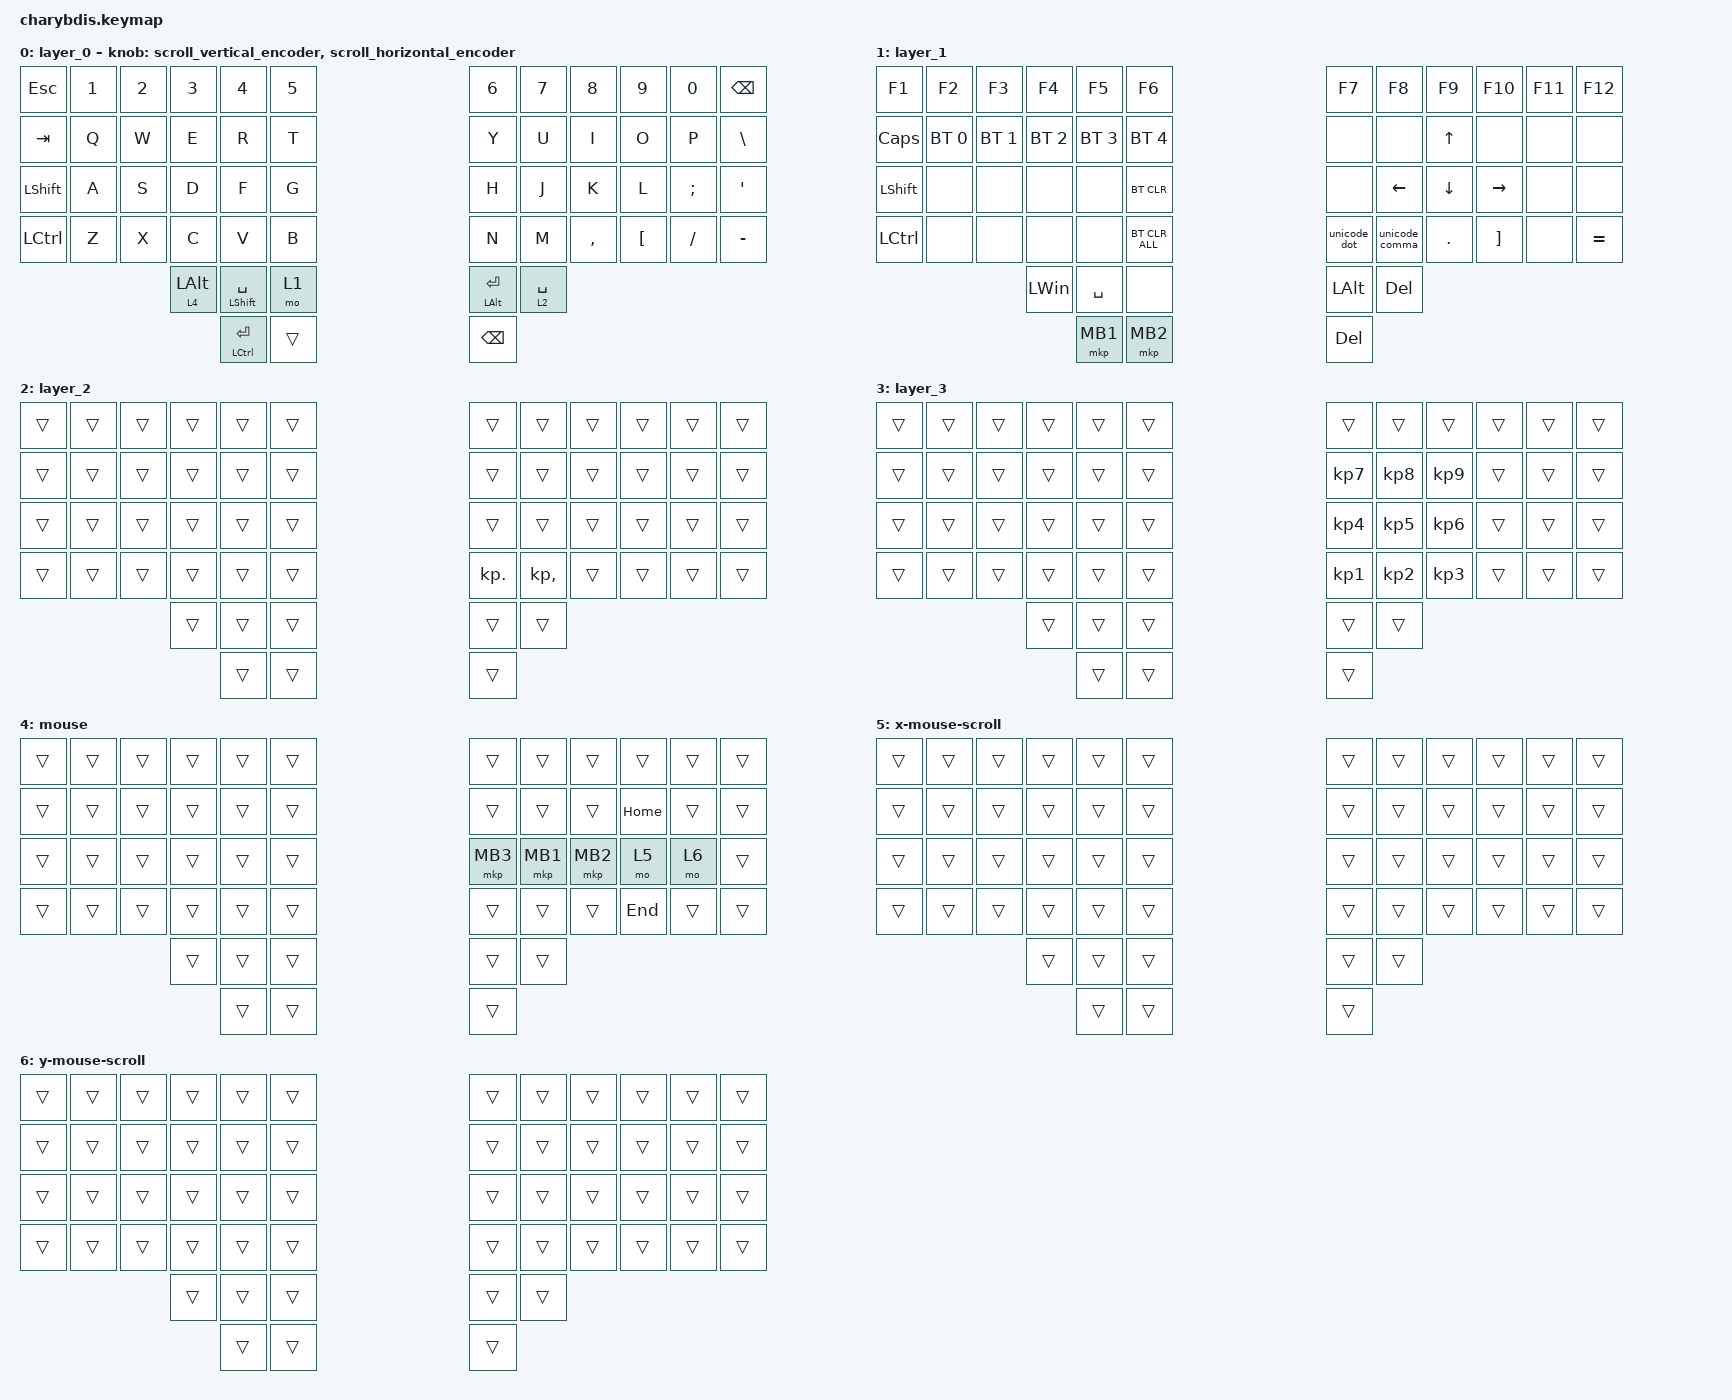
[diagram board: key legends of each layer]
#include <dt-bindings/zmk/mouse.h>
#include <input/processors.dtsi>
#include <zephyr/dt-bindings/input/input-event-codes.h>
#include <behaviors/unicode.dtsi>
#include <behaviors.dtsi>
#include <dt-bindings/zmk/bt.h>
#include <dt-bindings/zmk/keys.h>
#include <dt-bindings/zmk/pointing.h>
#include <behaviors/unicode.dtsi>

&uc {
    default-mode = <UC_MODE_WIN_ALT>;
};

#undef ZMK_POINTING_DEFAULT_MOVE_VAL
#undef ZMK_POINTING_DEFAULT_SCRL_VAL

#define ZMK_POINTING_DEFAULT_MOVE_VAL 1000 // 600
#define ZMK_POINTING_DEFAULT_SCRL_VAL 12   // 10

&lt {
    tapping-term-ms = <200>;
    flavor = "balanced";
    quick-tap-ms = <150>;
};

&mmv_input_listener { input-processors = <&zip_xy_scaler 2 1>; };

&msc_input_listener { input-processors = <&zip_scroll_scaler 2 1>; };

&msc {
    acceleration-exponent = <0>;      // 0
    time-to-max-speed-ms = <100>;       // 300
    delay-ms = <0>;                   // 0
};

&mmv {
    time-to-max-speed-ms = <300>;
    acceleration-exponent = <1>;
    trigger-period-ms = <16>;
};

/ {
    // 上下滚动编码器行为

    scroll_vertical_encoder: scroll_vertical_encoder {
        compatible = "zmk,behavior-sensor-rotate";
        #sensor-binding-cells = <0>;
        bindings = <&msc SCRL_DOWN>, <&msc SCRL_UP>;

        tap-ms = <100>;
    };

    // 左右滚动编码器行为

    scroll_horizontal_encoder: scroll_horizontal_encoder {
        compatible = "zmk,behavior-sensor-rotate";
        #sensor-binding-cells = <0>;
        bindings = <&msc SCRL_LEFT>, <&msc SCRL_RIGHT>;

        tap-ms = <100>;
    };

    macros {
        unicode_dot: unicode_dot {
            compatible = "zmk,behavior-macro";
            #binding-cells = <0>;
            wait-ms = <0>;
            tap-ms = <0>;
            bindings = <&uc 0x002e 0>;
        };

        unicode_comma: unicode_comma {
            compatible = "zmk,behavior-macro";
            #binding-cells = <0>;
            wait-ms = <0>;
            tap-ms = <0>;
            bindings = <&uc 0x002c 0>;
        };
    };

    behaviors {
    };

    keymap {
        compatible = "zmk,keymap";

        layer_0 {
            bindings = <
&kp ESC         &kp N1  &kp N2  &kp N3          &kp N4                &kp N5    &kp N6          &kp N7       &kp N8     &kp N9            &kp N0    &kp BACKSPACE
&kp TAB         &kp Q   &kp W   &kp E           &kp R                 &kp T     &kp Y           &kp U        &kp I      &kp O             &kp P     &kp BSLH
&kp LEFT_SHIFT  &kp A   &kp S   &kp D           &kp F                 &kp G     &kp H           &kp J        &kp K      &kp L             &kp SEMI  &kp SQT
&kp LCTRL       &kp Z   &kp X   &kp C           &kp V                 &kp B     &kp N           &kp M        &kp COMMA  &kp LEFT_BRACKET  &kp FSLH  &kp MINUS
                                &lt 4 LEFT_ALT  &mt LEFT_SHIFT SPACE  &mo 1     &mt LALT ENTER  &lt 2 SPACE
                                                &mt LCTRL ENTER       &trans    &kp BACKSPACE
            >;

            sensor-bindings =
                <&scroll_vertical_encoder>,
                // 编码器1：上下滚动,,,,,,,,,,,,,,,,,
                <&scroll_horizontal_encoder>;

            // 编码器2：左右滚动
        };

        layer_1 {
            bindings = <
&kp F1          &kp F2        &kp F3        &kp F4        &kp F5        &kp F6            &kp F7        &kp F8          &kp F9      &kp F10            &kp F11  &kp F12
&kp CAPS        &bt BT_SEL 0  &bt BT_SEL 1  &bt BT_SEL 2  &bt BT_SEL 3  &bt BT_SEL 4      &none         &none           &kp UP      &none              &none    &none
&kp LEFT_SHIFT  &none         &none         &none         &none         &bt BT_CLR        &none         &kp LEFT        &kp DOWN    &kp RIGHT          &none    &none
&kp LCTRL       &none         &none         &none         &none         &bt BT_CLR_ALL    &unicode_dot  &unicode_comma  &kp PERIOD  &kp RIGHT_BRACKET  &none    &kp EQUAL
                                            &kp LEFT_WIN  &kp SPACE     &none             &kp LALT      &kp DELETE
                                                          &mkp MB1      &mkp MB2          &kp DELETE
            >;
        };

        layer_2 {
            bindings = <
&trans  &trans  &trans  &trans  &trans  &trans    &trans      &trans        &trans  &trans  &trans  &trans
&trans  &trans  &trans  &trans  &trans  &trans    &trans      &trans        &trans  &trans  &trans  &trans
&trans  &trans  &trans  &trans  &trans  &trans    &trans      &trans        &trans  &trans  &trans  &trans
&trans  &trans  &trans  &trans  &trans  &trans    &kp KP_DOT  &kp KP_COMMA  &trans  &trans  &trans  &trans
                        &trans  &trans  &trans    &trans      &trans
                                &trans  &trans    &trans
            >;
        };

        layer_3 {
            bindings = <
&trans  &trans  &trans  &trans  &trans  &trans    &trans           &trans           &trans           &trans  &trans  &trans
&trans  &trans  &trans  &trans  &trans  &trans    &kp KP_NUMBER_7  &kp KP_NUMBER_8  &kp KP_NUMBER_9  &trans  &trans  &trans
&trans  &trans  &trans  &trans  &trans  &trans    &kp KP_NUMBER_4  &kp KP_NUMBER_5  &kp KP_NUMBER_6  &trans  &trans  &trans
&trans  &trans  &trans  &trans  &trans  &trans    &kp KP_NUMBER_1  &kp KP_NUMBER_2  &kp KP_NUMBER_3  &trans  &trans  &trans
                        &trans  &trans  &trans    &trans           &trans
                                &trans  &trans    &trans
            >;
        };

        mouse {
            bindings = <
&trans  &trans  &trans  &trans  &trans  &trans    &trans    &trans    &trans    &trans    &trans  &trans
&trans  &trans  &trans  &trans  &trans  &trans    &trans    &trans    &trans    &kp HOME  &trans  &trans
&trans  &trans  &trans  &trans  &trans  &trans    &mkp MB3  &mkp MB1  &mkp MB2  &mo 5     &mo 6   &trans
&trans  &trans  &trans  &trans  &trans  &trans    &trans    &trans    &trans    &kp END   &trans  &trans
                        &trans  &trans  &trans    &trans    &trans
                                &trans  &trans    &trans
            >;
        };

        x-mouse-scroll {
            bindings = <
&trans  &trans  &trans  &trans  &trans  &trans    &trans  &trans  &trans  &trans  &trans  &trans
&trans  &trans  &trans  &trans  &trans  &trans    &trans  &trans  &trans  &trans  &trans  &trans
&trans  &trans  &trans  &trans  &trans  &trans    &trans  &trans  &trans  &trans  &trans  &trans
&trans  &trans  &trans  &trans  &trans  &trans    &trans  &trans  &trans  &trans  &trans  &trans
                        &trans  &trans  &trans    &trans  &trans
                                &trans  &trans    &trans
            >;
        };

        y-mouse-scroll {
            bindings = <
&trans  &trans  &trans  &trans  &trans  &trans    &trans  &trans  &trans  &trans  &trans  &trans
&trans  &trans  &trans  &trans  &trans  &trans    &trans  &trans  &trans  &trans  &trans  &trans
&trans  &trans  &trans  &trans  &trans  &trans    &trans  &trans  &trans  &trans  &trans  &trans
&trans  &trans  &trans  &trans  &trans  &trans    &trans  &trans  &trans  &trans  &trans  &trans
                        &trans  &trans  &trans    &trans  &trans
                                &trans  &trans    &trans
            >;
        };

        /* layer_2 {
            bindings = <
&none  &none   &none    &none   &none         &none         &kp N1         &none         &none     &none  &none   &to 0
&none  &none   &none    &none   &none         &none         &none         &none          &rgb_ug RGB_BRD &rgb_ug RGB_BRI  &rgb_ug RGB_EFF   &rgb_ug RGB_TOG
&none  &none   &none    &none   &none         &none         &none         &mkp LCLK     &mkp RCLK  &none  &none   &none
&none  &none   &none    &none   &bt BT_NXT  &bt BT_CLR    &none         &none         &none     &none  &none   &none
                                   &none         &none         &none         &none         &none
                                                 &none         &none         &none
            >;
       
            
        };

       Mouse {
            bindings = <
&none        &none         &none         &none         &none      &none         &none       &none      &none         &none         &none         &none
&none        &bt BT_SEL 0  &bt BT_SEL 1  &bt BT_SEL 3  &none      &bt BT_CLR    &bt BT_CLR  &none      &bt BT_SEL 2  &bt BT_SEL 1  &bt BT_SEL 0  &none
&none        &trans        &trans        &mkp MCLK     &trans     &none         &none       &trans     &mkp MCLK     &trans        &trans        &none
&bootloader  &trans        &mkp RCLK     &mo 4         &mkp LCLK  &mo 5         &mo 5       &mkp LCLK  &mo 4         &mkp RCLK     &trans        &bootloader
                                         &mo 5         &mkp LCLK  &mkp RCLK     &mkp RCLK   &mkp LCLK
                                                       &none      &trans        &trans
            >;

            
        };

        layer_4 {
            bindings = <
&trans  &trans  &trans     &trans     &trans     &trans       &trans     &trans     &trans     &trans     &trans  &trans
&trans  &trans  &trans     &trans     &trans     &trans       &trans     &trans     &trans     &trans     &trans  &trans
&trans  &trans  &trans     &mkp MCLK  &trans     &trans       &trans     &trans     &mkp MCLK  &trans     &trans  &trans
&trans  &trans  &mkp RCLK  &trans     &mkp LCLK  &trans       &trans     &mkp LCLK  &trans     &mkp RCLK  &trans  &trans
                           &trans     &mkp LCLK  &mkp RCLK    &mkp RCLK  &mkp LCLK
                                      &trans     &trans       &trans
            >;
                
                
               
        };

        layer_5 {
            bindings = <
&trans  &trans  &trans     &trans     &trans     &trans       &trans     &trans     &trans     &trans     &trans  &trans
&trans  &trans  &trans     &trans     &trans     &trans       &trans     &trans     &trans     &trans     &trans  &trans
&trans  &trans  &trans     &mkp MCLK  &trans     &trans       &trans     &trans     &mkp MCLK  &trans     &trans  &trans
&trans  &trans  &mkp RCLK  &trans     &mkp LCLK  &trans       &trans     &mkp LCLK  &trans     &mkp RCLK  &trans  &trans
                           &trans     &mkp LCLK  &mkp RCLK    &mkp RCLK  &mkp LCLK
                                      &trans     &trans       &trans
            >;
                
                
        };*/
    };
};
